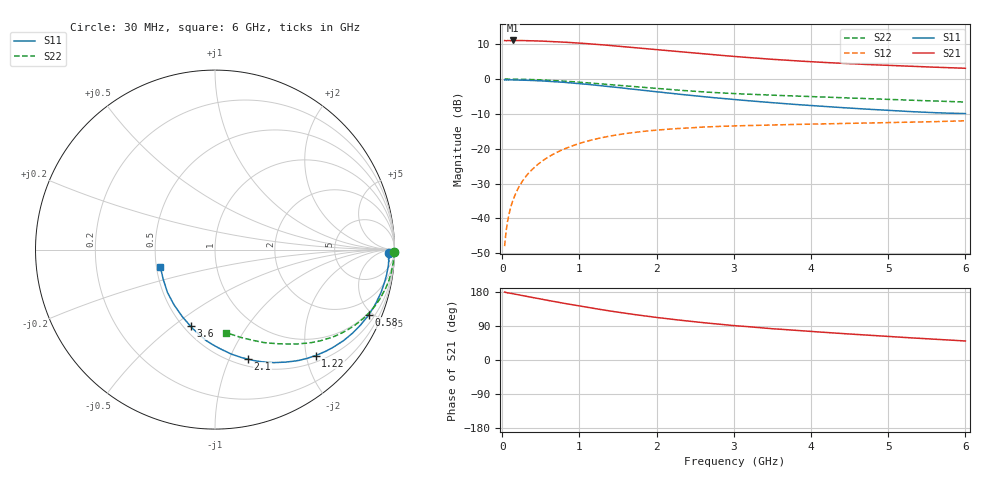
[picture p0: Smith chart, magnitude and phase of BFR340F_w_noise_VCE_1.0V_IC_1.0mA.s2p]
! Infineon Technologies  Discrete & RF Semiconductors
! BFR340F
! VCE =  1.0 V,  IC =  1.0 mA
! Common Emitter S-Parameters:  Nov 2015
# GHz  S  MA  R  50
!  f  S11  S21  S12  S22
! GHz  MAG  ANG  MAG  ANG  MAG  ANG  MAG  ANG
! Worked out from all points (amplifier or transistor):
!   206 points, 30 MHz to 6 GHz, reference 50 ohm
!   highest |S21| = 11.1 dB at 140 MHz (marker M1)
!   |S21| within 3 dB of that: start of sweep to 2.168 GHz
!   unconditionally stable (mu >= 1): 5.573 GHz to end of sweep
!   at 200 MHz: K = 0.04, MSG = 21.3 dB, |S12| = -31.6 dB
!   at 1.56 GHz: K = 0.37, MSG = 12.5 dB, |S12| = -15.8 dB
!   at 6 GHz: K = 1.03, MAG = 6.5 dB, |S12| = -12.0 dB
!   lowest NFmin = 0.59 dB at 100 MHz
!   S11 on the Smith chart (normalised r, x): 30 MHz: 44, -29; 580 MHz: 0.89, -4.76; 1.22 GHz: 0.62, -2.18; 2.1 GHz: 0.57, -1.17; 3.6 GHz: 0.54, -0.58; 6 GHz: 0.52, -0.11
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0.03  0.9688 -1.2  3.561 179.2  0.004 88.7  0.9977 -0.8
0.04  0.9728 -1.6  3.548 178.5  0.0053 89.5  0.9976 -1.1
0.065  0.9715 -2.8  3.549 177.3  0.0087 88.5  0.9976 -1.9
0.105  0.97 -4.2  3.545 176.1  0.0139 87.3  0.9968 -2.9
0.14  0.9704 -5.7  3.571 174.8  0.0185 86.2  0.9958 -4.0
0.22  0.9653 -8.9  3.566 171.6  0.0289 84.1  0.9926 -6.2
0.32  0.9583 -12.8  3.549 167.8  0.0419 81.4  0.9866 -9.0
0.58  0.9299 -23.0  3.474 157.8  0.074 74.7  0.9613 -16.1
0.78  0.8991 -30.6  3.388 150.3  0.0967 69.8  0.9348 -21.2
1.04  0.8506 -40.2  3.251 141.1  0.1228 63.8  0.8924 -27.5
1.22  0.8139 -46.5  3.141 135.0  0.1386 60.0  0.8607 -31.5
1.4  0.7763 -52.6  3.022 129.2  0.1523 56.5  0.8283 -35.3
1.6  0.7321 -59.1  2.895 123.0  0.1652 53.0  0.7933 -39.0
2.02  0.6519 -71.1  2.62 111.8  0.1856 47.1  0.7275 -45.8
2.1  0.6372 -73.3  2.569 109.9  0.1887 46.1  0.7161 -46.9
2.58  0.5609 -85.7  2.305 99.0  0.2037 41.5  0.6562 -53.2
2.82  0.5298 -91.4  2.188 94.1  0.2091 39.7  0.6329 -56.0
3.1  0.4973 -97.5  2.067 89.3  0.2137 38.1  0.6109 -58.7
3.6  0.4481 -107.6  1.884 81.2  0.2206 36.2  0.5805 -62.8
4.1  0.4087 -117.8  1.745 74.0  0.2266 35.5  0.555 -66.3
5.1  0.3503 -140.4  1.552 60.8  0.238 35.4  0.5049 -74.5
6  0.3196 -162.2  1.425 50.2  0.2516 37.3  0.4673 -82.4
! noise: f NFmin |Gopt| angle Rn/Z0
0.1  0.59  0.88  1  0.59
0.45  0.63  0.86  4  0.63
0.9  0.69  0.79  13  0.66
1.9  1.1  0.64  26  0.57
2.4  1.18  0.61  34  0.54
